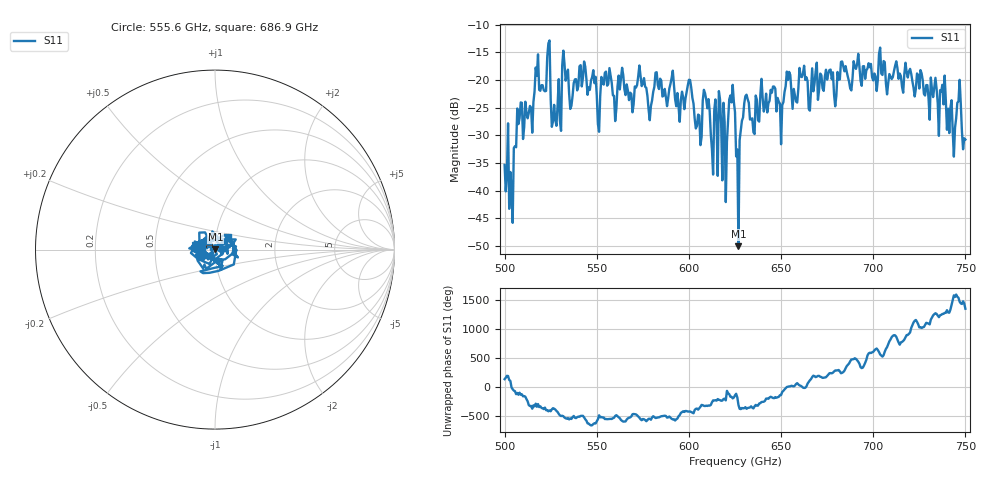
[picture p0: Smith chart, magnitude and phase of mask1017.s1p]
!Created with skrf (http://scikit-rf.org).
# GHz S MA R 50.0
!freq magS11 angS11
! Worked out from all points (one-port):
!   401 points, 500 GHz to 750 GHz, reference 50 ohm
!   lowest |S11| = -50.0 dB at 626.9 GHz (marker M1), VSWR 1.01, Z = 50.2 + j0.233 ohm
!   |S11| at or under -10 dB: start of sweep to end of sweep
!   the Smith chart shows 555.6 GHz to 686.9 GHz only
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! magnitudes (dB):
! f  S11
! 500 GHz  -35.3
! 503.8 GHz  -39.7
! 508.1 GHz  -26.9
! 513.8 GHz  -24.7
! 517.5 GHz  -19.2
! 523.8 GHz  -13.4
! 526.9 GHz  -24.5
! 531.2 GHz  -17.4
! 562.5 GHz  -21.7
! 593.8 GHz  -22.3
! 600.6 GHz  -20.0
! 605.6 GHz  -26.4
! 609.4 GHz  -23.5
! 611.9 GHz  -29.8
! 617.5 GHz  -28.0
! 619.4 GHz  -27.6
! 623.1 GHz  -24.0
! 625 GHz  -25.8
! 626.9 GHz  -50.0
! 631.2 GHz  -22.7
! 634.4 GHz  -26.9
! 656.2 GHz  -25.2
! 687.5 GHz  -21.5
! 718.8 GHz  -19.5
! 737.5 GHz  -20.9
! 742.5 GHz  -23.6
! 746.2 GHz  -23.9
! 750 GHz  -30.7
